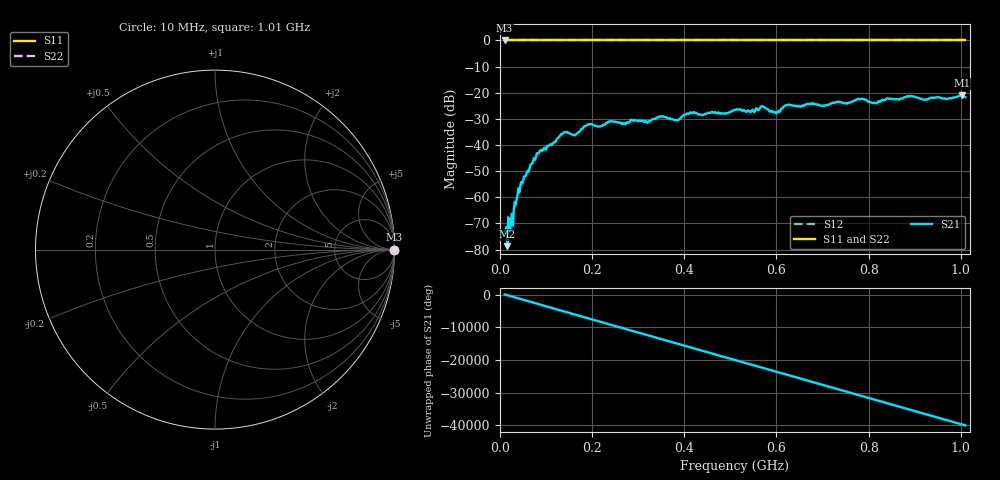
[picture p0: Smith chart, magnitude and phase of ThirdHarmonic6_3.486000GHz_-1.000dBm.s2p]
! 8/17/2025 11:21:02 AM
! C:\ANRITSUVNA\TEMP\TEMP.S2P
! CHANNEL.1
! TR.MEASUREMENT
! RAW.DATA
! RF.CORRECTION.OFF
! AVERAGING.OFF
! IF.BANDWIDTH: 5KHZ
! SWEEPTYPE:  FREQ.SWEEP(Linear)
! Reference Plane Port Info
! PORT:  PORT1  PORT2
! DISTANCE:  0  m  0  m
! TIME:  0  s  0  s
! PHASE.OFFSET:  0  deg.  0  deg.
! LOSS:  0  dB  0  dB
! REF.LOSS:  0  dB  0  dB
! REF.FREQ:  0  Hz  0  Hz
! Power Info
! POWER:  -20  dBm  -20  dBm
! EFF.POWER:  -20  dBm  -20  dBm
! SOURCE.ATTEN:  0  dB  0  dB
! TEST.ATTEN:  0  dB  0  dB
# GHZ S RI R 50.0
! FREQ.GHZ  S11RE  S11IM  S21RE  S21IM  S12RE  S12IM  S22RE  S22IM
!; PortSelection: Port_12
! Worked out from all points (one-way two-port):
!   501 points, 10 MHz to 1.01 GHz, reference 50 ohm
!   highest |S21| = -20.99 dB at 1.002 GHz (marker M1); lowest = -78.7 dB at 16 MHz (marker M2)
!   lowest |S11| = 0.0 dB at 10 MHz (marker M3)
!   |S11| at or under -10 dB: nowhere
!   |S22| runs from 0.0 to 0.0 dB; largest |S21 - S12| = 1.1
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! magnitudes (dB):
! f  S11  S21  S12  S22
! 10 MHz  0.0  -73.1  0.0  0.0
! 16 MHz  0.0  -78.7  0.0  0.0
! 26 MHz  0.0  -66.3  0.0  0.0
! 36 MHz  0.0  -60.8  0.0  0.0
! 48 MHz  0.0  -54.8  0.0  0.0
! 84 MHz  0.0  -43.2  0.0  0.0
! 136 MHz  0.0  -35.7  0.0  0.0
! 162 MHz  0.0  -36.2  0.0  0.0
! 178 MHz  0.0  -33.8  0.0  0.0
! 344 MHz  0.0  -29.4  0.0  0.0
! 382 MHz  0.0  -30.4  0.0  0.0
! 416 MHz  0.0  -27.8  0.0  0.0
! 510 MHz  0.0  -26.5  0.0  0.0
! 570 MHz  0.0  -25.2  0.0  0.0
! 598 MHz  0.0  -27.7  0.0  0.0
! 624 MHz  0.0  -24.6  0.0  0.0
! 678 MHz  0.0  -24.3  0.0  0.0
! 782 MHz  0.0  -22.4  0.0  0.0
! 814 MHz  0.0  -23.8  0.0  0.0
! 844 MHz  0.0  -22.3  0.0  0.0
! 1.002 GHz  0.0  -21.0  0.0  0.0
! 1.01 GHz  0.0  -21.7  0.0  0.0
